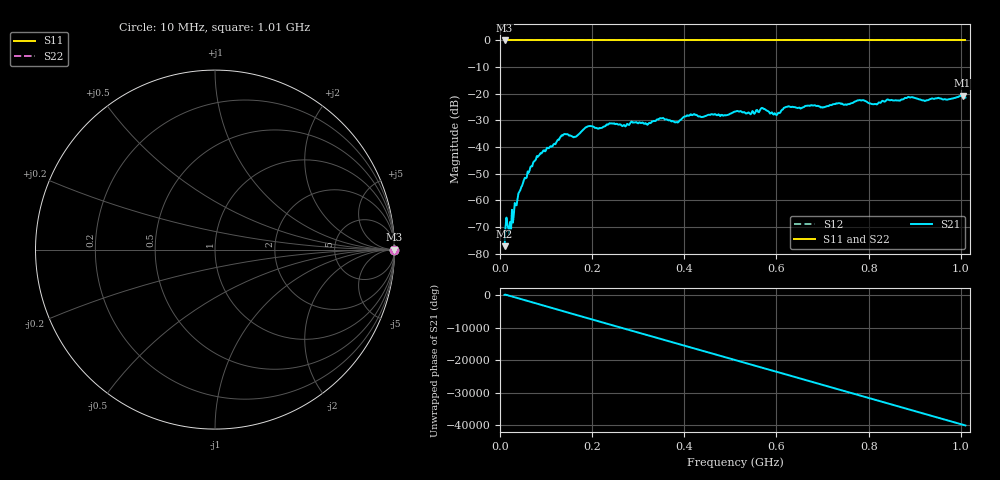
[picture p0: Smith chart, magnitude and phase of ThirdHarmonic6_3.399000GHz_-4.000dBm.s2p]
! 8/17/2025 10:51:02 AM
! C:\ANRITSUVNA\TEMP\TEMP.S2P
! CHANNEL.1
! TR.MEASUREMENT
! RAW.DATA
! RF.CORRECTION.OFF
! AVERAGING.OFF
! IF.BANDWIDTH: 5KHZ
! SWEEPTYPE:  FREQ.SWEEP(Linear)
! Reference Plane Port Info
! PORT:  PORT1  PORT2
! DISTANCE:  0  m  0  m
! TIME:  0  s  0  s
! PHASE.OFFSET:  0  deg.  0  deg.
! LOSS:  0  dB  0  dB
! REF.LOSS:  0  dB  0  dB
! REF.FREQ:  0  Hz  0  Hz
! Power Info
! POWER:  -20  dBm  -20  dBm
! EFF.POWER:  -20  dBm  -20  dBm
! SOURCE.ATTEN:  0  dB  0  dB
! TEST.ATTEN:  0  dB  0  dB
# GHZ S RI R 50.0
! FREQ.GHZ  S11RE  S11IM  S21RE  S21IM  S12RE  S12IM  S22RE  S22IM
!; PortSelection: Port_12
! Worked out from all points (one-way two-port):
!   501 points, 10 MHz to 1.01 GHz, reference 50 ohm
!   highest |S21| = -20.77 dB at 1.004 GHz (marker M1); lowest = -77.2 dB at 10 MHz (marker M2)
!   lowest |S11| = 0.0 dB at 10 MHz (marker M3)
!   |S11| at or under -10 dB: nowhere
!   |S22| runs from 0.0 to 0.0 dB; largest |S21 - S12| = 1.1
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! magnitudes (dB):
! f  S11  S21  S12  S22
! 10 MHz  0.0  -77.2  0.0  0.0
! 16 MHz  0.0  -69.0  0.0  0.0
! 24 MHz  0.0  -70.9  0.0  0.0
! 36 MHz  0.0  -61.9  0.0  0.0
! 50 MHz  0.0  -53.4  0.0  0.0
! 76 MHz  0.0  -45.1  0.0  0.0
! 136 MHz  0.0  -35.7  0.0  0.0
! 162 MHz  0.0  -36.2  0.0  0.0
! 178 MHz  0.0  -34.0  0.0  0.0
! 194 MHz  0.0  -32.1  0.0  0.0
! 322 MHz  0.0  -31.3  0.0  0.0
! 344 MHz  0.0  -29.7  0.0  0.0
! 384 MHz  0.0  -30.7  0.0  0.0
! 410 MHz  0.0  -28.3  0.0  0.0
! 510 MHz  0.0  -26.7  0.0  0.0
! 570 MHz  0.0  -25.4  0.0  0.0
! 598 MHz  0.0  -27.6  0.0  0.0
! 622 MHz  0.0  -24.9  0.0  0.0
! 678 MHz  0.0  -24.4  0.0  0.0
! 844 MHz  0.0  -22.4  0.0  0.0
! 1.004 GHz  0.0  -20.8  0.0  0.0
! 1.01 GHz  0.0  -21.5  0.0  0.0
